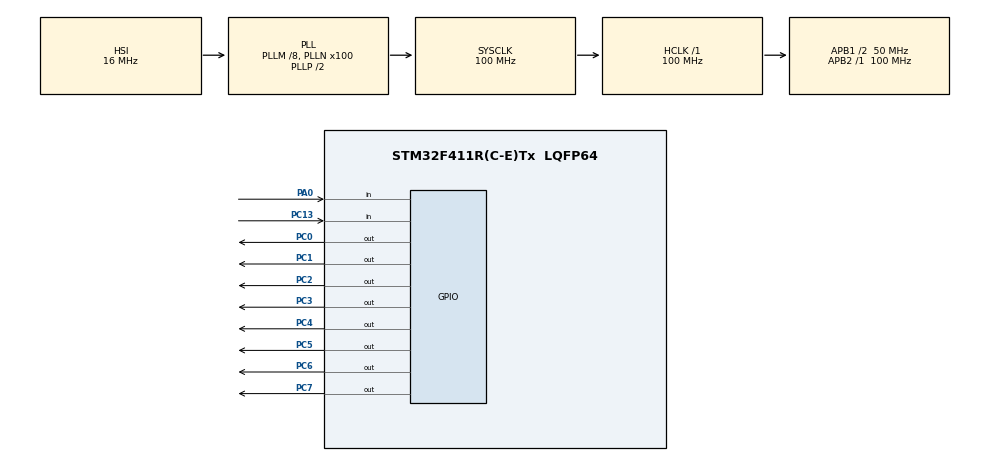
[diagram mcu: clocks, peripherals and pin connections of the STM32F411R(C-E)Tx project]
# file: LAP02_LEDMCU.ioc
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Mcu.Family=STM32F4
Mcu.Name=STM32F411R(C-E)Tx
Mcu.Package=LQFP64
NVIC.PriorityGroup=NVIC_PRIORITYGROUP_0
PA0-WKUP.Signal=GPIO_Input
PC0.Signal=GPIO_Output
PC1.Signal=GPIO_Output
PC13-ANTI_TAMP.Signal=GPIO_Input
PC2.Signal=GPIO_Output
PC3.Signal=GPIO_Output
PC4.Signal=GPIO_Output
PC5.Signal=GPIO_Output
PC6.Signal=GPIO_Output
PC7.Signal=GPIO_Output
ProjectManager.HeapSize=0x200
ProjectManager.StackSize=0x400
ProjectManager.TargetToolchain=MDK-ARM V5.27
RCC.48MHZClocksFreq_Value=50000000
RCC.AHBFreq_Value=100000000
RCC.APB1CLKDivider=RCC_HCLK_DIV2
RCC.APB1Freq_Value=50000000
RCC.APB1TimFreq_Value=100000000
RCC.APB2Freq_Value=100000000
RCC.APB2TimFreq_Value=100000000
RCC.CortexFreq_Value=100000000
RCC.FLatency-AdvancedSettings=FLASH_LATENCY_3
RCC.HCLKFreq_Value=100000000
RCC.HSE_VALUE=8000000
RCC.HSI_VALUE=16000000
RCC.LSE_VALUE=32768
RCC.PLLM=8
RCC.PLLN=100
RCC.SYSCLKFreq_VALUE=100000000
RCC.SYSCLKSource=RCC_SYSCLKSOURCE_PLLCLK
RCC.VCOOutputFreq_Value=200000000
board=NUCLEO-F411RE

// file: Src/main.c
/* USER CODE BEGIN Header */
/**
  ******************************************************************************
  * @file           : main.c
  * @brief          : Main program body
  ******************************************************************************
  * @attention
  *
  * <h2><center>&copy; Copyright (c) 2019 STMicroelectronics.
  * All rights reserved.</center></h2>
  *
  * This software component is licensed by ST under BSD 3-Clause license,
  * the "License"; You may not use this file except in compliance with the
  * License. You may obtain a copy of the License at:
  *                        opensource.org/licenses/BSD-3-Clause
  *
  ******************************************************************************
  */
/* USER CODE END Header */

#include "main.h"
#include "gpio.h"

/* USER CODE BEGIN Includes */
#include <stdbool.h>
/* USER CODE END Includes */

/* USER CODE BEGIN PV */
bool statusB1, statusB2;
bool tempVar1 = true;
bool tempVar2 = true;
uint8_t count=-1;
uint8_t LEDPC[8] = {0x01, 0x02, 0x04, 0x08, 0x10, 0x20, 0x40, 0x80};
bool SPC0, SPC1, SPC2, SPC3, SPC4, SPC5, SPC6, SPC7;
/* USER CODE END PV */

void SystemClock_Config(void);
/* USER CODE BEGIN PFP */
void cheeck_status_led();
/* USER CODE END PFP */

int main(void)
{

  /* MCU Configuration--------------------------------------------------------*/

  /* Reset of all peripherals, Initializes the Flash interface and the Systick. */
  HAL_Init();

  /* Configure the system clock */
  SystemClock_Config();

  /* Initialize all configured peripherals */
  MX_GPIO_Init();
  /* USER CODE BEGIN 2 */
	// INIT LED OFF
		for(int i=0; i<3; i++)
		{
			for(int i=7; i>-1; i--)
			{
				HAL_GPIO_WritePin(GPIOC, LEDPC[i], GPIO_PIN_RESET);
			}
			HAL_Delay(300);
			for(int i=7; i>-1; i--)
			{
				HAL_GPIO_WritePin(GPIOC, LEDPC[i], GPIO_PIN_SET);
			}
			HAL_Delay(300);
		}
  /* USER CODE END 2 */

  /* Infinite loop */
  while (1)
  {

    /* USER CODE BEGIN 3 */
		/*
		B1 => PC13
		B2 => PA0

		LED1 => PC0		GPIOC		0x01
		LED2 => PC1		GPIOC		0x02
		LED3 => PC2		GPIOC		0x04
		LED4 => PC3		GPIOC		0x08
		LED5 => PC4		GPIOC		0x10
		LED6 => PC5		GPIOC		0x20
		LED7 => PC6		GPIOC		0x40
		LED8 => PC7		GPIOC		0x80
		*/

		// BUTTON PC13 B1
		statusB1 = HAL_GPIO_ReadPin(GPIOC, GPIO_PIN_13);				// PULL DOWN
		if(statusB1 == 0x01 && tempVar1)
		{
			count++;
			if(count == 8) { HAL_GPIO_WritePin(GPIOC, LEDPC[count-1], GPIO_PIN_SET); count = -1; }
			HAL_GPIO_WritePin(GPIOC, LEDPC[count-1], GPIO_PIN_SET);
			HAL_GPIO_WritePin(GPIOC, LEDPC[count], GPIO_PIN_RESET);
			tempVar1 = false;

			cheeck_status_led();
		}
		else if(statusB1 == 0x00)
		{
			tempVar1 = true;
		}

		// BUTTON PA0
		statusB2 = HAL_GPIO_ReadPin(GPIOA, GPIO_PIN_0);					// PULL DOWN
		if(statusB2 == 0x01 && tempVar2)
		{
			// Clear LED HIGH
			for(int i=7; i>-1; i--)
			{
				HAL_GPIO_WritePin(GPIOC, LEDPC[i], GPIO_PIN_SET);
				// Check status LED
				cheeck_status_led();
			}

			for(int i=7; i>-1; i--)
			{
				HAL_GPIO_WritePin(GPIOC, LEDPC[i], GPIO_PIN_RESET);
				// Check status LED
				cheeck_status_led();
				HAL_Delay(250);

				HAL_GPIO_WritePin(GPIOC, LEDPC[i], GPIO_PIN_SET);
				// Check status LED
				cheeck_status_led();
				HAL_Delay(250);
			}
			tempVar2 = false;

			// Restore status LED
			HAL_GPIO_WritePin(GPIOC, LEDPC[count], GPIO_PIN_RESET);
		}
		else if(statusB2 == 0x00)
		{
			tempVar2 = true;
		}
  }
  /* USER CODE END 3 */
}

void SystemClock_Config(void)
{
  RCC_OscInitTypeDef RCC_OscInitStruct = {0};
  RCC_ClkInitTypeDef RCC_ClkInitStruct = {0};

  /** Configure the main internal regulator output voltage
  */
  __HAL_RCC_PWR_CLK_ENABLE();
  __HAL_PWR_VOLTAGESCALING_CONFIG(PWR_REGULATOR_VOLTAGE_SCALE1);
  /** Initializes the CPU, AHB and APB busses clocks
  */
  RCC_OscInitStruct.OscillatorType = RCC_OSCILLATORTYPE_HSI;
  RCC_OscInitStruct.HSIState = RCC_HSI_ON;
  RCC_OscInitStruct.HSICalibrationValue = RCC_HSICALIBRATION_DEFAULT;
  RCC_OscInitStruct.PLL.PLLState = RCC_PLL_ON;
  RCC_OscInitStruct.PLL.PLLSource = RCC_PLLSOURCE_HSI;
  RCC_OscInitStruct.PLL.PLLM = 8;
  RCC_OscInitStruct.PLL.PLLN = 100;
  RCC_OscInitStruct.PLL.PLLP = RCC_PLLP_DIV2;
  RCC_OscInitStruct.PLL.PLLQ = 4;
  if (HAL_RCC_OscConfig(&RCC_OscInitStruct) != HAL_OK)
  {
    Error_Handler();
  }
  /** Initializes the CPU, AHB and APB busses clocks
  */
  RCC_ClkInitStruct.ClockType = RCC_CLOCKTYPE_HCLK|RCC_CLOCKTYPE_SYSCLK
                              |RCC_CLOCKTYPE_PCLK1|RCC_CLOCKTYPE_PCLK2;
  RCC_ClkInitStruct.SYSCLKSource = RCC_SYSCLKSOURCE_PLLCLK;
  RCC_ClkInitStruct.AHBCLKDivider = RCC_SYSCLK_DIV1;
  RCC_ClkInitStruct.APB1CLKDivider = RCC_HCLK_DIV2;
  RCC_ClkInitStruct.APB2CLKDivider = RCC_HCLK_DIV1;

  if (HAL_RCC_ClockConfig(&RCC_ClkInitStruct, FLASH_LATENCY_3) != HAL_OK)
  {
    Error_Handler();
  }
}

/* USER CODE BEGIN 4 */
void cheeck_status_led()
{
	  // Read state LED
		SPC0 = HAL_GPIO_ReadPin(GPIOC, GPIO_PIN_0);
		SPC1 = HAL_GPIO_ReadPin(GPIOC, GPIO_PIN_1);
		SPC2 = HAL_GPIO_ReadPin(GPIOC, GPIO_PIN_2);
		SPC3 = HAL_GPIO_ReadPin(GPIOC, GPIO_PIN_3);
		SPC4 = HAL_GPIO_ReadPin(GPIOC, GPIO_PIN_4);
		SPC5 = HAL_GPIO_ReadPin(GPIOC, GPIO_PIN_5);
		SPC6 = HAL_GPIO_ReadPin(GPIOC, GPIO_PIN_6);
		SPC7 = HAL_GPIO_ReadPin(GPIOC, GPIO_PIN_7);
}
/* USER CODE END 4 */

void Error_Handler(void)
{
}

/************************ (C) COPYRIGHT STMicroelectronics *****END OF FILE****/
